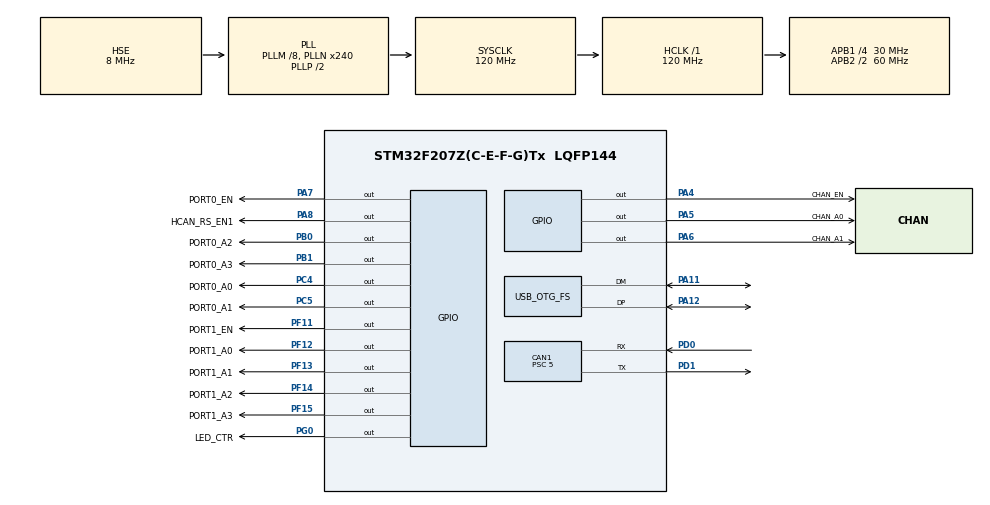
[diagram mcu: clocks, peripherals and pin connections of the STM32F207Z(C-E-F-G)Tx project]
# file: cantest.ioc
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CAN1.AWUM=ENABLE
CAN1.BS1=CAN_BS1_6TQ
CAN1.BS2=CAN_BS2_5TQ
CAN1.CalculateBaudRate=499999
CAN1.CalculateTimeBit=2000
CAN1.CalculateTimeQuantum=166.66666666666669
CAN1.Mode=CAN_MODE_NORMAL
CAN1.NART=ENABLE
CAN1.Prescaler=5
CAN1.SJW=CAN_SJW_1TQ
Mcu.Family=STM32F2
Mcu.Name=STM32F207Z(C-E-F-G)Tx
Mcu.Package=LQFP144
NVIC.CAN1_RX0_IRQn=true\:0\:0\:false\:false\:true\:true\:true\:true
NVIC.OTG_FS_IRQn=true\:0\:0\:false\:false\:true\:false\:true\:true
NVIC.PriorityGroup=NVIC_PRIORITYGROUP_4
PA0-WKUP.Mode=SYS_WakeUp0
PA0-WKUP.Signal=SYS_WKUP
PA11.Mode=Device_Only
PA11.Signal=USB_OTG_FS_DM
PA12.Mode=Device_Only
PA12.Signal=USB_OTG_FS_DP
PA13.Mode=Serial_Wire
PA13.Signal=SYS_JTMS-SWDIO
PA14.Mode=Serial_Wire
PA14.Signal=SYS_JTCK-SWCLK
PA4.GPIO_Label=CHAN_EN
PA4.GPIO_Speed=GPIO_SPEED_FREQ_VERY_HIGH
PA4.PinState=GPIO_PIN_SET
PA4.Signal=GPIO_Output
PA5.GPIO_Label=CHAN_A0
PA5.GPIO_Speed=GPIO_SPEED_FREQ_VERY_HIGH
PA5.Signal=GPIO_Output
PA6.GPIO_Label=CHAN_A1
PA6.GPIO_Speed=GPIO_SPEED_FREQ_VERY_HIGH
PA6.Signal=GPIO_Output
PA7.GPIO_Label=PORT0_EN
PA7.GPIO_Speed=GPIO_SPEED_FREQ_VERY_HIGH
PA7.PinState=GPIO_PIN_SET
PA7.Signal=GPIO_Output
PA8.GPIO_Label=HCAN_RS_EN1
PA8.GPIO_Speed=GPIO_SPEED_FREQ_VERY_HIGH
PA8.Signal=GPIO_Output
PB0.GPIO_Label=PORT0_A2
PB0.GPIO_Speed=GPIO_SPEED_FREQ_VERY_HIGH
PB0.Signal=GPIO_Output
PB1.GPIO_Label=PORT0_A3
PB1.GPIO_Speed=GPIO_SPEED_FREQ_VERY_HIGH
PB1.Signal=GPIO_Output
PC14-OSC32_IN.Mode=LSE-External-Oscillator
PC14-OSC32_IN.Signal=RCC_OSC32_IN
PC15-OSC32_OUT.Mode=LSE-External-Oscillator
PC15-OSC32_OUT.Signal=RCC_OSC32_OUT
PC4.GPIO_Label=PORT0_A0
PC4.GPIO_Speed=GPIO_SPEED_FREQ_VERY_HIGH
PC4.Signal=GPIO_Output
PC5.GPIO_Label=PORT0_A1
PC5.GPIO_Speed=GPIO_SPEED_FREQ_VERY_HIGH
PC5.Signal=GPIO_Output
PD0.Mode=CAN_Activate
PD0.Signal=CAN1_RX
PD1.Mode=CAN_Activate
PD1.Signal=CAN1_TX
PF11.GPIO_Label=PORT1_EN
PF11.GPIO_Speed=GPIO_SPEED_FREQ_VERY_HIGH
PF11.PinState=GPIO_PIN_SET
PF11.Signal=GPIO_Output
PF12.GPIO_Label=PORT1_A0
PF12.GPIO_Speed=GPIO_SPEED_FREQ_VERY_HIGH
PF12.Signal=GPIO_Output
PF13.GPIO_Label=PORT1_A1
PF13.GPIO_Speed=GPIO_SPEED_FREQ_VERY_HIGH
PF13.Signal=GPIO_Output
PF14.GPIO_Label=PORT1_A2
PF14.GPIO_Speed=GPIO_SPEED_FREQ_VERY_HIGH
PF14.Signal=GPIO_Output
PF15.GPIO_Label=PORT1_A3
PF15.GPIO_Speed=GPIO_SPEED_FREQ_VERY_HIGH
PF15.Signal=GPIO_Output
PG0.GPIO_Label=LED_CTR
PG0.GPIO_Speed=GPIO_SPEED_FREQ_VERY_HIGH
PG0.PinState=GPIO_PIN_SET
PG0.Signal=GPIO_Output
PH0-OSC_IN.Mode=HSE-External-Oscillator
PH0-OSC_IN.Signal=RCC_OSC_IN
PH1-OSC_OUT.Mode=HSE-External-Oscillator
PH1-OSC_OUT.Signal=RCC_OSC_OUT
ProjectManager.HeapSize=0x2000
ProjectManager.StackSize=0x400
ProjectManager.TargetToolchain=MDK-ARM V5.32
RCC.48MHZClocksFreq_Value=48000000
RCC.AHBFreq_Value=120000000
RCC.APB1CLKDivider=RCC_HCLK_DIV4
RCC.APB1Freq_Value=30000000
RCC.APB1TimFreq_Value=60000000
RCC.APB2CLKDivider=RCC_HCLK_DIV2
RCC.APB2Freq_Value=60000000
RCC.APB2TimFreq_Value=120000000
RCC.CortexFreq_Value=120000000
RCC.HCLKFreq_Value=120000000
RCC.HSE_VALUE=8000000
RCC.HSI_VALUE=16000000
RCC.PLLM=8
RCC.PLLN=240
RCC.PLLQ=5
RCC.PLLSourceVirtual=RCC_PLLSOURCE_HSE
RCC.SYSCLKFreq_VALUE=120000000
RCC.SYSCLKSource=RCC_SYSCLKSOURCE_PLLCLK
RCC.VCOOutputFreq_Value=240000000
USB_DEVICE.CLASS_NAME_FS=CDC
USB_DEVICE.VirtualMode-CDC_FS=Cdc
USB_DEVICE.VirtualModeFS=Cdc_FS
USB_OTG_FS.VirtualMode=Device_Only
USB_OTG_FS.low_power_enable=DISABLE
VP_USB_DEVICE_VS_USB_DEVICE_CDC_FS.Mode=CDC_FS
board=custom

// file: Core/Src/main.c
/* USER CODE BEGIN Header */
/**
  ******************************************************************************
  * @file           : main.c
  * @brief          : Main program body
  ******************************************************************************
  * @attention
  *
  * Copyright (c) 2025 STMicroelectronics.
  * All rights reserved.
  *
  * This software is licensed under terms that can be found in the LICENSE file
  * in the root directory of this software component.
  * If no LICENSE file comes with this software, it is provided AS-IS.
  *
  ******************************************************************************
  */
/* USER CODE END Header */
#include "main.h"
#include "can.h"
#include "usb_device.h"
#include "gpio.h"

/* USER CODE BEGIN Includes */
#include "iap_user.h"
#include "can_uds_simple.h"

/* USER CODE END Includes */

void SystemClock_Config(void);

int main(void)
{

  /* MCU Configuration--------------------------------------------------------*/

  /* Reset of all peripherals, Initializes the Flash interface and the Systick. */
  HAL_Init();

  /* Configure the system clock */
  SystemClock_Config();

  /* Initialize all configured peripherals */
  MX_GPIO_Init();
  MX_USB_DEVICE_Init();
  MX_CAN1_Init();

  /* Infinite loop */
  /* USER CODE BEGIN WHILE */

	/* Execute the IAP driver in order to reprogram the Flash */
  IAP_Init();
  can_board_init();
  can_uds_init();

	/* Display main menu */
	Main_Menu();

  /* IAP program will not arrive here !!! */
  while (1)
  {
#if 1
    char data[8] = {0x01, 0x02, 0x03, 0x04, 0x05, 0x06, 0x07, 0x08};
    can_send(0x86, data, 8);

    HAL_GPIO_WritePin(LED_CTR_GPIO_Port, LED_CTR_Pin, GPIO_PIN_SET);
    HAL_Delay(500);
    HAL_GPIO_WritePin(LED_CTR_GPIO_Port, LED_CTR_Pin, GPIO_PIN_RESET);
    HAL_Delay(500);

    CDC_Transmit_FS("fuck\r\n", 6);
#endif
    /* USER CODE END WHILE */

  }
}

void SystemClock_Config(void)
{
  RCC_OscInitTypeDef RCC_OscInitStruct = {0};
  RCC_ClkInitTypeDef RCC_ClkInitStruct = {0};

  /** Initializes the RCC Oscillators according to the specified parameters
  * in the RCC_OscInitTypeDef structure.
  */
  RCC_OscInitStruct.OscillatorType = RCC_OSCILLATORTYPE_HSE;
  RCC_OscInitStruct.HSEState = RCC_HSE_ON;
  RCC_OscInitStruct.PLL.PLLState = RCC_PLL_ON;
  RCC_OscInitStruct.PLL.PLLSource = RCC_PLLSOURCE_HSE;
  RCC_OscInitStruct.PLL.PLLM = 8;
  RCC_OscInitStruct.PLL.PLLN = 240;
  RCC_OscInitStruct.PLL.PLLP = RCC_PLLP_DIV2;
  RCC_OscInitStruct.PLL.PLLQ = 5;
  if (HAL_RCC_OscConfig(&RCC_OscInitStruct) != HAL_OK)
  {
    Error_Handler();
  }

  /** Initializes the CPU, AHB and APB buses clocks
  */
  RCC_ClkInitStruct.ClockType = RCC_CLOCKTYPE_HCLK|RCC_CLOCKTYPE_SYSCLK
                              |RCC_CLOCKTYPE_PCLK1|RCC_CLOCKTYPE_PCLK2;
  RCC_ClkInitStruct.SYSCLKSource = RCC_SYSCLKSOURCE_PLLCLK;
  RCC_ClkInitStruct.AHBCLKDivider = RCC_SYSCLK_DIV1;
  RCC_ClkInitStruct.APB1CLKDivider = RCC_HCLK_DIV4;
  RCC_ClkInitStruct.APB2CLKDivider = RCC_HCLK_DIV2;

  if (HAL_RCC_ClockConfig(&RCC_ClkInitStruct, FLASH_LATENCY_3) != HAL_OK)
  {
    Error_Handler();
  }
}

void Error_Handler(void)
{
  __disable_irq();
  while (1)
  {
  }
}
